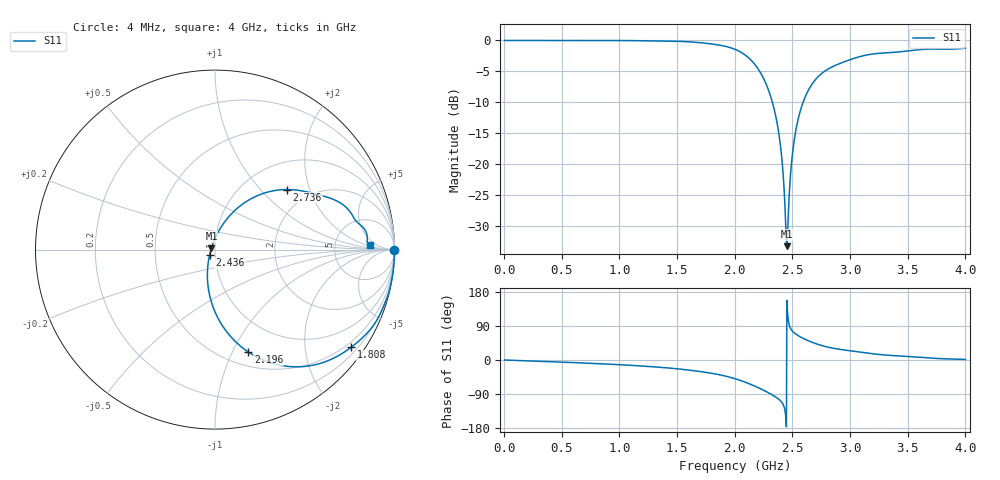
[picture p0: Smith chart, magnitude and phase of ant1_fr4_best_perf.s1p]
! TOUCHSTONE file generated by CST MICROWAVE STUDIO
! Date and time: Thu May 12 13:04:52 2022
! Project name: ant1_ceramic_sweep_fr4.cst
! Parameters = {e=0.035; h=1.6; i=0.8; l1=0.5; l2=20.96; ls=88; wl=1.7; ws=30}
! Header version: 2018
! Port assignment regex: !\s*Touchstone port\s*([0-9]+)\s*=\s*(CST MWS port|CST DS port)\s*([0-9]+|Zmin|Zmax)\s*\(\"(.*)\"\)(\s*mode\s*([0-9]+))?.*
! Touchstone port assignment:
! Touchstone port 1 = CST MWS port 1 ("")
# GHz S DB R 50
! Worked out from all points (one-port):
!   1000 points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, 4 MHz to 4 GHz, reference 50 ohm
!   lowest |S11| = -33.3 dB at 2.452 GHz (marker M1), VSWR 1.04, Z = 48 + j0.799 ohm
!   |S11| at or under -10 dB: 2.326 GHz to 2.593 GHz (266.6 MHz wide, 10.8 % of centre)
!   S11 on the Smith chart (normalised r, x): 4 MHz: open; 1.808 GHz: 0.36, -3.08; 2.196 GHz: 0.65, -1.15; 2.436 GHz: 0.94, -0.06; 2.736 GHz: 1.55, +1.42; 4 GHz: 13, +2
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0.004  -0.00 -0.0
0.504  -0.00 -5.6
1.004  -0.01 -12.5
1.504  -0.14 -23.3
1.808  -0.59 -35.6
2.004  -1.45 -49.5
2.108  -2.62 -60.6
2.196  -4.43 -72.0
2.292  -8.01 -86.4
2.36  -12.69 -98.7
2.384  -15.32 -104.1
2.404  -18.34 -110.2
2.416  -20.80 -115.4
2.436  -27.20 -134.2
2.444  -31.07 -156.1
2.452  -33.31 157.4
2.464  -28.32 105.2
2.488  -20.67 81.1
2.504  -17.75 74.9
2.54  -13.56 66.2
2.588  -10.24 57.9
2.652  -7.60 49.0
2.736  -5.63 39.8
2.844  -4.28 31.6
3.004  -3.08 24.2
3.204  -2.17 16.2
3.504  -1.69 9.5
4  -1.26 1.5
